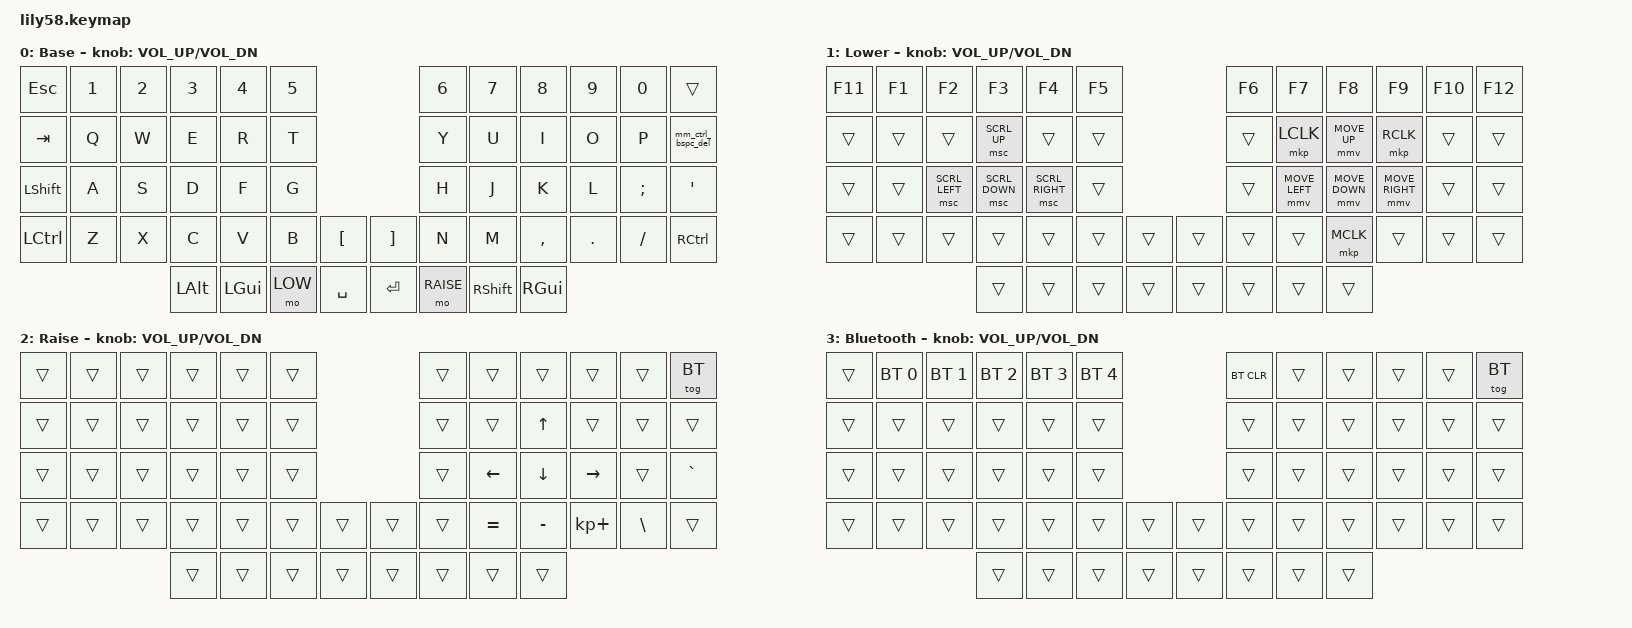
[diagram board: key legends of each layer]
/*
 * Copyright (c) 2020 The ZMK Contributors
 *
 * SPDX-License-Identifier: MIT
 */

#include <behaviors.dtsi>
#include <dt-bindings/zmk/keys.h>
#include <dt-bindings/zmk/bt.h>
#include <dt-bindings/zmk/ext_power.h>

#define ZMK_POINTING_DEFAULT_MOVE_VAL 1000  // default: 600
#define ZMK_POINTING_DEFAULT_SCRL_VAL 20    // default: 10
#include <dt-bindings/zmk/pointing.h>

#include "keys_ru.h"

#define BASE    0
// #define RU      1
#define LOW     1
#define RAISE   2
#define BT      3

&mmv {
    time-to-max-speed-ms = <300>;
};

&msc {
    acceleration-exponent = <2>;
};

&mt {
    flavor = "tap-preferred";
};

#define MOD_MORPH_SFT_MASKED(NAME, KEY, MOD_KEY) \
  mm_sft__##NAME: mm_sft__##NAME { \
    compatible = "zmk,behavior-mod-morph"; \
    label = #NAME; \
    #binding-cells = <0>; \
    bindings = <&kp KEY>, <&kp MOD_KEY>; \
    mods = <(MOD_LSFT|MOD_RSFT)>; \
    masked_mods = <(MOD_LSFT|MOD_RSFT)>; \
  };

#define MOD_MORPH_SFT(NAME, KEY, MOD_KEY) \
  mm_sft__##NAME: mm_sft__##NAME { \
    compatible = "zmk,behavior-mod-morph"; \
    label = #NAME; \
    #binding-cells = <0>; \
    bindings = <&kp KEY>, <&kp MOD_KEY>; \
    mods = <(MOD_LSFT|MOD_RSFT)>; \
  };

#define MOD_MORPH_CTRL_MASKED(NAME, KEY, MOD_KEY) \
  mm_ctrl__##NAME: mm_ctrl__##NAME { \
    compatible = "zmk,behavior-mod-morph"; \
    label = #NAME; \
    #binding-cells = <0>; \
    bindings = <&kp KEY>, <&kp MOD_KEY>; \
    mods = <(MOD_LCTL|MOD_RCTL)>; \
    masked_mods = <(MOD_LCTL|MOD_RCTL)>; \
  };

#define MOD_MORPH_CTRL(NAME, KEY, MOD_KEY) \
  mm_ctrl__##NAME: mm_ctrl__##NAME { \
    compatible = "zmk,behavior-mod-morph"; \
    label = #NAME; \
    #binding-cells = <0>; \
    bindings = <&kp KEY>, <&kp MOD_KEY>; \
    mods = <(MOD_LCTL|MOD_RCTL)>; \
  };

/ {
    behaviors {
      MOD_MORPH_CTRL(bspc_del, BSPC, DEL)
      MOD_MORPH_SFT(ru_semi_colon, RU_SEMI, RU_COLON)
    };
};

#define MT_RU_A_YA &mt RU_CHAR_YA RU_CHAR_A
#define MT_RU_SH_SCH &mt RU_CHAR_SHCHA RU_CHAR_SHA
#define MT_RU_U_YU &mt RU_CHAR_YU RU_CHAR_U
#define MT_RU_SOFT_HARD &mt RU_CHAR_HARD_SIGN RU_CHAR_SOFT_SIGN
#define MT_RU_O_IO &mt RU_CHAR_IO RU_CHAR_O
#define MT_RU_I_II &mt RU_CHAR_SHORT_I RU_CHAR_I
#define MT_RU_IE_AE &mt RU_CHAR_E RU_CHAR_IE
#define MT_RU_CHE_HA &mt RU_CHAR_HA RU_CHAR_CHE

/ {
    keymap {
        compatible = "zmk,keymap";

        default_layer {
// ------------------------------------------------------------------------------------------------------------
// |  ESC  |  1  |  2  |  3   |  4   |  5   |                   |  6   |  7    |  8    |  9   |   0   |        |
// |  TAB  |  Q  |  W  |  E   |  R   |  T   |                   |  Y   |  U    |  I    |  O   |   P   |BSPC_DEL|
// | SHIFT |  A  |  S  |  D   |  F   |  G   |                   |  H   |  J    |  K    |  L   |   ;   |   '    |
// | CTRL  |  Z  |  X  |  C   |  V   |  B   |   "["  |  |  "]"  |  N   |  M    |  ,    |  .   |   /   |  CTRL  |
//                     | ALT  | GUI  | LOWER|  SPACE |  | ENTER | RAISE| SHIFT | GUI   |
            display-name = "Base";
            bindings = <
&kp ESC   &kp N1 &kp N2 &kp N3   &kp N4   &kp N5                      &kp N6  &kp N7  &kp N8    &kp N9  &kp N0   &trans
&kp TAB   &kp Q  &kp W  &kp E    &kp R    &kp T                       &kp Y   &kp U   &kp I     &kp O   &kp P    &mm_ctrl__bspc_del
&kp LSHFT &kp A  &kp S  &kp D    &kp F    &kp G                       &kp H   &kp J   &kp K     &kp L   &kp SEMI &kp SQT
&kp LCTRL &kp Z  &kp X  &kp C    &kp V    &kp B  &kp LBKT   &kp RBKT  &kp N   &kp M   &kp COMMA &kp DOT &kp FSLH &kp RCTRL
                        &kp LALT &kp LGUI &mo LOW &kp SPACE  &kp RET  &mo RAISE  &kp RSHFT &kp RGUI
            >;

            sensor-bindings = <&inc_dec_kp C_VOL_UP C_VOL_DN>;
        };

//        ru {
// // ------------------------------------------------------------------------------------------------------------
// // |  ESC  |  1  |  2  |  3   |  4   |  5   |                   |  6   |  7    |  8    |  9   |   0   |        |
// // |  TAB  |  Й  | Ш,Щ |  Ф   |  П   |  Г   |                   |  Ж   |  Л    |  У,Ю  |  Ы   |   ;   |BSPC_DEL|
// // | SHIFT | А,Я |  Р  |  С   |  Т   |  Д   |                   |  Ч   |  Н    |  Е,Э  |  И,Й |  О,Ё  |  Ь,Ъ   |
// // | CTRL  |  З  |  Х  |  Ц   |  В   |  Б   |   "["  |  |  "]"  |  К   |  М    |  ,    |  .   |   /   |  CTRL  |
// //                     | ALT  | GUI  | LOWER|  SPACE |  | ENTER | RAISE| SHIFT | GUI   |
//             label = "Ru";
//             bindings = <
// &kp ESC   &kp N1               &kp N2           &kp N3           &kp N4           &kp N5                               &kp N6           &kp N7          &kp N8        &kp N9             &kp N0                  &trans
// &kp TAB   &kp RU_CHAR_SHORT_I  MT_RU_SH_SCH     &kp RU_CHAR_EF   &kp RU_CHAR_PE   &kp RU_CHAR_GE                       &kp RU_CHAR_ZHE  &kp RU_CHAR_EL  MT_RU_U_YU    &kp RU_CHAR_YERU   &mm_sft__ru_semi_colon  &mm_ctrl__bspc_del
// &kp LSHFT MT_RU_A_YA           &kp RU_CHAR_ER   &kp RU_CHAR_ES   &kp RU_CHAR_TE   &kp RU_CHAR_DE                       &kp RU_CHAR_CHE  &kp RU_CHAR_EN  MT_RU_IE_AE   MT_RU_I_II         MT_RU_O_IO              MT_RU_SOFT_HARD
// &kp LCTRL &kp RU_CHAR_ZE       &kp RU_CHAR_HA   &kp RU_CHAR_CHE  &kp RU_CHAR_VE   &kp RU_CHAR_BE  &kp LBKT   &kp RBKT  &kp RU_CHAR_KA   &kp RU_CHAR_EM  &kp RU_COMMA  &kp RU_DOT         &kp RU_FSLH             &kp RCTRL
//                                                 &kp LALT         &kp LGUI         &mo LOW         &kp SPACE  &kp RET   &mo RAISE        &kp RSHFT       &kp RGUI
//             >;
// 
//             sensor-bindings = <&inc_dec_kp C_VOL_UP C_VOL_DN>;
//         };

//         ru {
// // ------------------------------------------------------------------------------------------------------------
// // |  ESC  |  1  |  2  |  3   |  4   |  5   |                   |  6   |  7    |  8    |  9   |   0   |        |
// // |  TAB  |  Й  |  Ц  |  У,Ю |  К   |  Е,Э |                   |  Н   |  Г    |  Ш    |  Щ   |   З   |BSPC_DEL|
// // | SHIFT |  Ф  |  Ы  |  В   |  А   |  П   |                   |  Р   |  О    |  Л    |  Д   |   Ж   |   ?    |
// // | CTRL  |  Я  | Ч,Х |  С   |  М   |  И   |   "["  |  |  "]"  |  Т   |  Ь,Ъ  |  Б    |  ,   |   .   |  CTRL  |
// //                     | ALT  | GUI  | LOWER|  SPACE |  | ENTER | RAISE| SHIFT | GUI   |
//             label = "Ru";
//             bindings = <
// &kp ESC   &kp N1               &kp N2            &kp N3           &kp N4           &kp N5                               &kp N6          &kp N7           &kp N8           &kp N9             &kp N0           &trans
// &kp TAB   &kp RU_CHAR_SHORT_I  &kp RU_CHAR_TSE   MT_RU_U_YU       &kp RU_CHAR_KA   MT_RU_IE_AE                          &kp RU_CHAR_EN  &kp RU_CHAR_GE   &kp RU_CHAR_SHA  &kp RU_CHAR_SHCHA  &kp RU_CHAR_ZE   &mm_ctrl__bspc_del
// &kp LSHFT &kp RU_CHAR_EF       &kp RU_CHAR_YERU  &kp RU_CHAR_VE   &kp RU_CHAR_A    &kp RU_CHAR_PE                       &kp RU_CHAR_ER  &kp RU_CHAR_O    &kp RU_CHAR_EL   &kp RU_CHAR_DE     &kp RU_CHAR_ZHE  &kp RU_DQT
// &kp LCTRL &kp RU_CHAR_YA       MT_RU_CHE_HA      &kp RU_CHAR_ES   &kp RU_CHAR_EM   &kp RU_CHAR_I   &kp LBKT   &kp RBKT  &kp RU_CHAR_TE  MT_RU_SOFT_HARD  &kp RU_CHAR_BE   &kp RU_COMMA       &kp RU_DOT       &kp RCTRL
//                                                  &kp LALT         &kp LGUI         &mo LOW         &kp SPACE  &kp RET   &mo RAISE       &kp RSHFT        &kp RGUI
//             >;

//             sensor-bindings = <&inc_dec_kp C_VOL_UP C_VOL_DN>;
//         };

        lower_layer {
// ------------------------------------------------------------------------------------------------------------
// |       |  F1  | F2   | F3  |  F4  | F5   |                   |   F8  |  F9   |  F10  |  F11 |  F12  |       |
// |       |      |      |↑SCRL|      |      |                   |       |  LCLK |   ↑M  | RCLK |       |       |
// |       |      |<-SCRL|↓SCRL|SCRL->|      |                   |       |   <-M |   ↓M  | M->  |       |       |
// |       |      |      |     |      |      |  F6    |  |  F7   |       |       |  MCLK |      |       |       |
//                       |     |      |      |        |  |       |       |       |       |
            display-name = "Lower";
            bindings = <
&kp F11  &kp F1 &kp F2           &kp F3           &kp F4            &kp F5                       &kp F6     &kp F7         &kp F8         &kp F9          &kp F10      &kp F12
&trans   &trans &trans           &msc SCRL_UP     &trans            &trans                       &trans     &mkp LCLK      &mmv MOVE_UP   &mkp RCLK       &trans       &trans
&trans   &trans &msc SCRL_LEFT   &msc SCRL_DOWN   &msc SCRL_RIGHT   &trans                       &trans     &mmv MOVE_LEFT &mmv MOVE_DOWN &mmv MOVE_RIGHT &trans       &trans
&trans   &trans &trans           &trans           &trans            &trans    &trans   &trans    &trans     &trans         &mkp MCLK      &trans          &trans       &trans
                                 &trans           &trans            &trans    &trans   &trans    &trans     &trans         &trans
            >;

            sensor-bindings = <&inc_dec_kp C_VOL_UP C_VOL_DN>;
        };

        raise_layer {
// ------------------------------------------------------------------------------------------------------------
// |       |     |     |      |      |      |                   |      |       |       |      |       | TOG_BT|
// |       |     |     |      |      |      |                   |      |       |   ↑   |      |       |       |
// |       |     |     |      |      |      |                   |      |    <- |   ↓   |  ->  |       |   `   |
// |       |     |     |      |      |      |        |  |       |      |   =   |   -   |  +   |   \   |       |
//                     |      |      |      |        |  |       |      |       |       |
            display-name = "Raise";
            bindings = <
&trans    &trans         &trans         &trans       &trans          &trans                    &trans    &trans    &trans    &trans      &trans   &tog BT
&trans    &trans         &trans         &trans       &trans          &trans                    &trans    &trans    &kp UP    &trans      &trans   &trans
&trans    &trans         &trans         &trans       &trans          &trans                    &trans    &kp LEFT  &kp DOWN  &kp RIGHT   &trans   &kp GRAVE
&trans    &trans         &trans         &trans       &trans          &trans   &trans &trans    &trans    &kp EQUAL &kp MINUS &kp KP_PLUS &kp BSLH &trans
                                        &trans       &trans          &trans   &trans &trans    &trans    &trans    &trans
            >;

            sensor-bindings = <&inc_dec_kp C_VOL_UP C_VOL_DN>;
        };

        bt_settings {
// ------------------------------------------------------------------------------------------------------------
// |       | BT1 | BT2 |  BT3 |  BT4 | BT5  |                   | BTCLR |       |       |      |       |TOG_BT|
// |       |     |     |      |      |      |                   |       |       |       |      |       |      |
// |       |     |     |      |      |      |                   |       |       |       |      |       |      |
// |       |     |     |      |      |      |        |  |       |       |       |       |      |       |      |
//                     |      |      |      |        |  |       |       |       |       |
            display-name = "Bluetooth";
            bindings = <
&trans  &bt BT_SEL 0 &bt BT_SEL 1 &bt BT_SEL 2 &bt BT_SEL 3 &bt BT_SEL 4          &bt BT_CLR   &trans       &trans       &trans       &trans       &tog BT
&trans  &trans       &trans       &trans       &trans       &trans                &trans       &trans       &trans       &trans       &trans       &trans
&trans  &trans       &trans       &trans       &trans       &trans                &trans       &trans       &trans       &trans       &trans       &trans
&trans  &trans       &trans       &trans       &trans       &trans  &trans &trans &trans       &trans       &trans       &trans       &trans       &trans
                                  &trans       &trans       &trans  &trans &trans &trans       &trans       &trans
            >;

            sensor-bindings = <&inc_dec_kp C_VOL_UP C_VOL_DN>;
        };

        extra_1 {
            status = "reserved";
        };

        extra_2 {
            status = "reserved";
        };

        extra_3 {
            status = "reserved";
        };
    };
};
